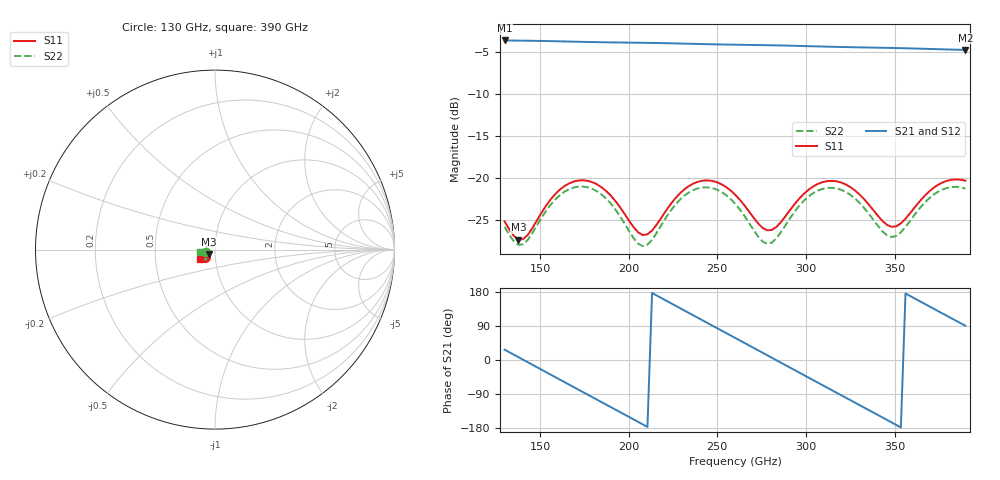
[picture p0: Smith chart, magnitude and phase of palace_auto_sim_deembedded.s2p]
! Created with skrf 1.11.0 (http://scikit-rf.org).
# GHz S DB R 50.0
!freq dBS11 angS11 dBS21 angS21 dBS12 angS12 dBS22 angS22
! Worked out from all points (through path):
!   101 points, 130 GHz to 390 GHz, reference 50 ohm
!   highest |S21| = -3.64 dB at 130 GHz (marker M1); lowest = -4.8 dB at 390 GHz (marker M2)
!   group delay of S21, straight-line fit = 7.02 ps
!   lowest |S11| = -27.3 dB at 137.8 GHz (marker M3), VSWR 1.09, Z = 46.6 - j2.35 ohm
!   |S11| at or under -10 dB: start of sweep to end of sweep
!   |S22| runs from -28.1 to -21.0 dB; largest |S21 - S12| = 7.3e-14
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130  -25.16 -161.2  -3.64 27.2  -3.64 27.2  -25.81 -168.0
137.8  -27.33 -144.2  -3.66 7.5  -3.66 7.5  -27.95 -151.3
153.4  -23.29 -119.2  -3.71 -32.1  -3.71 -32.1  -23.91 -128.1
163.8  -20.96 -128.8  -3.76 -58.4  -3.76 -58.4  -21.64 -138.7
174.2  -20.27 -143.4  -3.81 -84.7  -3.81 -84.7  -21.02 -154.3
187.2  -21.53 -160.3  -3.86 -117.4  -3.86 -117.4  -22.43 -172.4
200.2  -25.08 -162.9  -3.90 -150.3  -3.90 -150.3  -26.31 -175.3
208  -26.79 -146.8  -3.92 -170.0  -3.92 -170.0  -28.11 -157.2
218.4  -24.73 -125.3  -3.95 163.6  -3.95 163.6  -25.62 -135.3
239.2  -20.44 -138.5  -4.05 111.0  -4.05 111.0  -21.22 -152.3
249.6  -20.49 -152.0  -4.10 84.7  -4.10 84.7  -21.37 -167.2
260  -21.97 -162.6  -4.14 58.5  -4.14 58.5  -23.04 -179.0
275.6  -25.94 -153.9  -4.19 19.1  -4.19 19.1  -27.56 -168.8
283.4  -25.82 -135.3  -4.22 -0.7  -4.22 -0.7  -27.17 -147.6
304.2  -21.00 -132.7  -4.33 -53.3  -4.33 -53.3  -21.79 -148.4
314.6  -20.34 -144.7  -4.39 -79.5  -4.39 -79.5  -21.17 -162.0
325  -21.07 -156.2  -4.44 -105.7  -4.44 -105.7  -21.99 -174.9
338  -23.81 -160.9  -4.49 -138.5  -4.49 -138.5  -24.96 179.5
348.4  -25.81 -145.1  -4.53 -164.8  -4.53 -164.8  -27.03 -163.4
366.6  -22.21 -125.2  -4.63 149.2  -4.63 149.2  -23.03 -145.3
379.6  -20.34 -136.0  -4.71 116.4  -4.71 116.4  -21.18 -158.2
390  -20.33 -147.5  -4.76 90.3  -4.76 90.3  -21.26 -171.2
